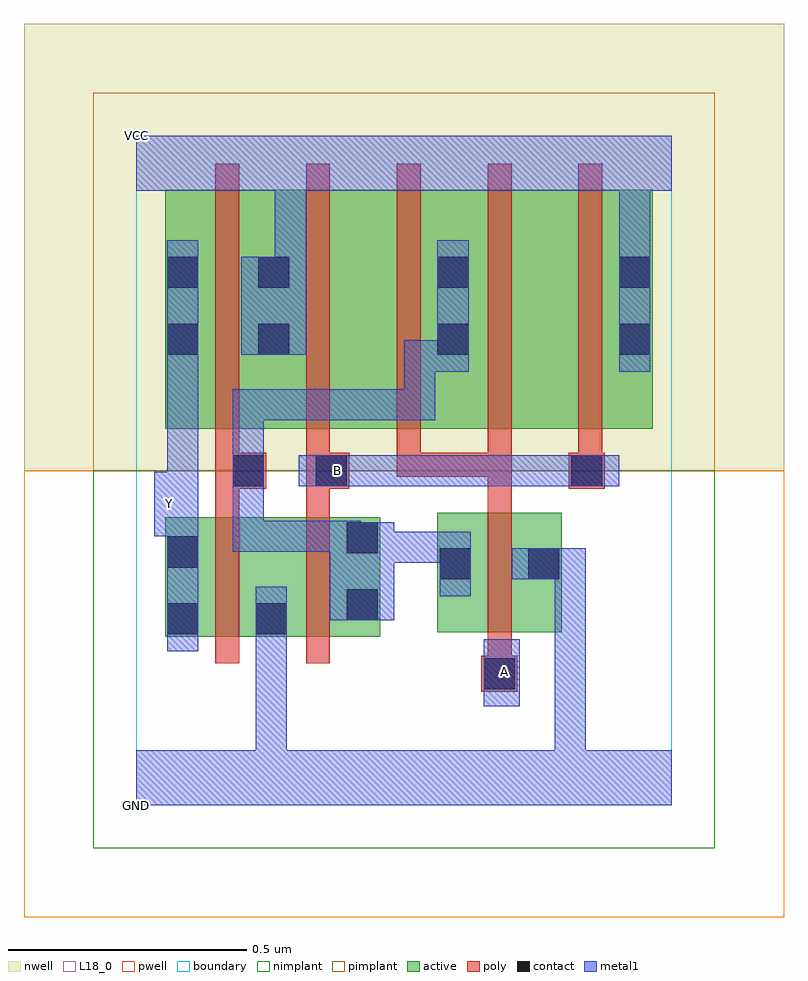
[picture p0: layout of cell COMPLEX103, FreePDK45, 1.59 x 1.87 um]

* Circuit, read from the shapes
.subckt COMPLEX103 A B GND VCC Y
M1 GND n1 Y VSUBS nfet w=0.25u l=0.05u
M2 n1 B GND VSUBS nfet w=0.25u l=0.05u
M3 GND A n1 VSUBS nfet w=0.25u l=0.05u
M4 VCC n1 Y n2 pfet w=0.5u l=0.05u
M5 n3 B VCC n2 pfet w=0.5u l=0.05u
M6 n1 A n3 n2 pfet w=0.5u l=0.05u
M7 n4 A n1 n2 pfet w=0.5u l=0.05u
M8 VCC B n4 n2 pfet w=0.5u l=0.05u
.ends

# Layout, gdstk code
import gdstk
lib = gdstk.Library(unit=1e-6, precision=1e-09)
def R(c, l, rs):  # rectangles x0, y0, x1, y1
    for r in rs: c.add(gdstk.rectangle(r[:2], r[2:], *l))
def A(c, l, x, y, w, h, nx, ny, dx, dy):  # array of equal rectangles
    R(c, l, [(x+i*dx, y+j*dy, x+i*dx+w, y+j*dy+h) for i in range(nx) for j in range(ny)])
active = (1, 0)
pwell = (2, 0)
nwell = (3, 0)
nimplant = (4, 0)
pimplant = (5, 0)
poly = (9, 0)
contact = (10, 0)
metal1 = (11, 0)
L18_0 = (18, 0)
boundary = (235, 0)

complex103 = lib.new_cell('COMPLEX103')
R(complex103, active, [(0.06,0.352,0.135,0.602), (0.06,0.352,0.32,0.602), (0.245,0.352,0.51,0.602), (0.245,0.352,0.32,0.497), (0.435,0.352,0.51,0.602), (0.63,0.362,0.89,0.612), (0.815,0.362,0.89,0.612), (0.63,0.395,0.705,0.612), (0.06,0.787,0.325,1.287), (0.06,0.787,0.135,1.2), (0.25,0.787,0.475,1.287), (0.475,0.787,0.7,1.287), (0.625,0.787,0.855,1.287), (0.855,0.787,1.08,1.287), (1.005,0.787,1.08,1.255), (0.25,0.807,0.325,1.255), (0.625,0.807,0.7,1.2)])
R(complex103, pwell, [(-0.235,-0.235,1.355,0.7)])
R(complex103, nwell, [(-0.235,0.7,1.355,1.635)])
R(complex103, nimplant, [(-0.09,-0.09,1.21,0.7)])
R(complex103, pimplant, [(-0.09,0.7,1.21,1.49)])
A(complex103, poly, 0.165, 0.687, 0.05, 0.095, 5, 1, 0.19, 0)
A(complex103, poly, 0.165, 0.732, 0.05, 0.61, 5, 1, 0.19, 0)
R(complex103, poly, [(0.722,0.237,0.797,0.312), (0.735,0.262,0.785,0.357), (0.165,0.297,0.215,0.657), (0.355,0.297,0.405,0.657), (0.735,0.307,0.785,0.667), (0.165,0.607,0.215,0.712), (0.355,0.607,0.405,0.712), (0.735,0.617,0.785,0.737), (0.165,0.662,0.272,0.737), (0.355,0.662,0.445,0.737), (0.905,0.662,0.98,0.737), (0.545,0.687,0.785,0.737), (0.545,0.687,0.595,0.737), (0.545,0.687,0.595,0.737), (0.545,0.687,0.595,0.737), (0.735,0.687,0.785,0.737)])
R(complex103, contact, [(0.727,0.242,0.792,0.307), (0.065,0.357,0.13,0.422), (0.25,0.357,0.315,0.422), (0.44,0.387,0.505,0.452), (0.635,0.472,0.7,0.537), (0.82,0.472,0.885,0.537), (0.065,0.497,0.13,0.562), (0.44,0.527,0.505,0.592), (0.202,0.667,0.267,0.732), (0.375,0.667,0.44,0.732), (0.91,0.667,0.975,0.732), (0.065,0.942,0.13,1.007), (0.255,0.942,0.32,1.007), (0.63,0.942,0.695,1.007), (1.01,0.942,1.075,1.007), (0.065,1.082,0.13,1.147), (0.255,1.082,0.32,1.147), (0.63,1.082,0.695,1.147), (1.01,1.082,1.075,1.147)])
R(complex103, metal1, [(0,0,1.12,0.115), (0.25,0.05,0.315,0.115), (0.25,0.05,0.315,0.115), (0.25,0.05,0.315,0.115), (0.25,0.05,0.315,0.115), (0.25,0.05,0.315,0.387), (0.875,0.05,0.94,0.115), (0.875,0.05,0.94,0.115), (0.875,0.05,0.94,0.115), (0.875,0.05,0.94,0.115), (0.875,0.05,0.94,0.115), (0.875,0.05,0.94,0.115), (0.875,0.05,0.94,0.537), (0.727,0.207,0.802,0.347), (0.065,0.322,0.13,0.597), (0.25,0.322,0.315,0.387), (0.25,0.322,0.315,0.387), (0.25,0.322,0.315,0.457), (0.405,0.387,0.54,0.592), (0.635,0.437,0.7,0.572), (0.785,0.472,0.94,0.537), (0.475,0.507,0.625,0.572), (0.56,0.507,0.625,0.572), (0.56,0.507,0.7,0.572), (0.405,0.527,0.47,0.592), (0.405,0.527,0.47,0.595), (0.202,0.53,0.267,0.595), (0.202,0.53,0.47,0.595), (0.202,0.53,0.267,0.767), (0.065,0.532,0.13,0.627), (0.037,0.562,0.13,0.697), (0.065,0.632,0.13,0.972), (0.202,0.632,0.267,0.767), (0.34,0.667,0.487,0.732), (0.422,0.667,0.487,0.732), (0.422,0.667,0.487,0.732), (0.422,0.667,0.625,0.732), (0.56,0.667,0.625,0.732), (0.56,0.667,0.677,0.732), (0.612,0.667,0.677,0.732), (0.612,0.667,0.762,0.732), (0.697,0.667,0.937,0.732), (0.697,0.667,0.762,0.732), (0.872,0.667,0.94,0.732), (0.872,0.667,0.937,0.732), (0.875,0.667,1.01,0.732), (0.202,0.702,0.267,0.767), (0.202,0.702,0.267,0.767), (0.202,0.702,0.267,0.87), (0.202,0.805,0.267,0.87), (0.202,0.805,0.487,0.87), (0.422,0.805,0.487,0.87), (0.422,0.805,0.487,0.87), (0.422,0.805,0.487,0.87), (0.422,0.805,0.625,0.87), (0.56,0.805,0.625,0.972), (0.065,0.907,0.13,1.182), (0.56,0.907,0.695,0.972), (0.63,0.907,0.695,1.182), (1.01,0.907,1.075,1.182), (0.22,0.942,0.355,1.147), (0.29,1.082,0.355,1.35), (1.01,1.117,1.075,1.35), (0,1.285,1.12,1.4)])
R(complex103, L18_0, [(0,0,1.12,0.115), (0.25,0.05,0.315,0.115), (0.25,0.05,0.315,0.115), (0.25,0.05,0.315,0.115), (0.25,0.05,0.315,0.115), (0.25,0.05,0.315,0.387), (0.875,0.05,0.94,0.115), (0.875,0.05,0.94,0.115), (0.875,0.05,0.94,0.115), (0.875,0.05,0.94,0.115), (0.875,0.05,0.94,0.115), (0.875,0.05,0.94,0.115), (0.875,0.05,0.94,0.537), (0.727,0.207,0.802,0.347), (0.737,0.247,0.802,0.312), (0.065,0.322,0.13,0.597), (0.25,0.322,0.315,0.387), (0.25,0.322,0.315,0.387), (0.25,0.322,0.315,0.457), (0.785,0.472,0.94,0.537), (0.065,0.532,0.13,0.627), (0.037,0.562,0.13,0.697), (0.037,0.597,0.102,0.662), (0.065,0.632,0.13,0.972), (0.34,0.667,0.487,0.732), (0.387,0.667,0.452,0.732), (0.422,0.667,0.487,0.732), (0.422,0.667,0.487,0.732), (0.422,0.667,0.625,0.732), (0.56,0.667,0.625,0.732), (0.56,0.667,0.677,0.732), (0.612,0.667,0.677,0.732), (0.612,0.667,0.762,0.732), (0.697,0.667,0.762,0.732), (0.697,0.667,0.937,0.732), (0.872,0.667,0.937,0.732), (0.872,0.667,0.94,0.732), (0.875,0.667,1.01,0.732), (0.065,0.907,0.13,1.182), (1.01,0.907,1.075,1.182), (0.22,0.942,0.355,1.147), (0.29,1.082,0.355,1.35), (1.01,1.117,1.075,1.35), (0,1.285,1.12,1.4)])
R(complex103, boundary, [(0,0,1.12,1.4)])
complex103.add(gdstk.Label('A', (0.77,0.28), layer=11, texttype=0))
complex103.add(gdstk.Label('B', (0.42,0.7), layer=11, texttype=0))
complex103.add(gdstk.Label('Y', (0.07,0.63), layer=11, texttype=0))
complex103.add(gdstk.Label('VCC', (0,1.4), layer=11, texttype=0))
complex103.add(gdstk.Label('GND', (0,0), layer=11, texttype=0))

lib.write_gds('COMPLEX103.gds')
